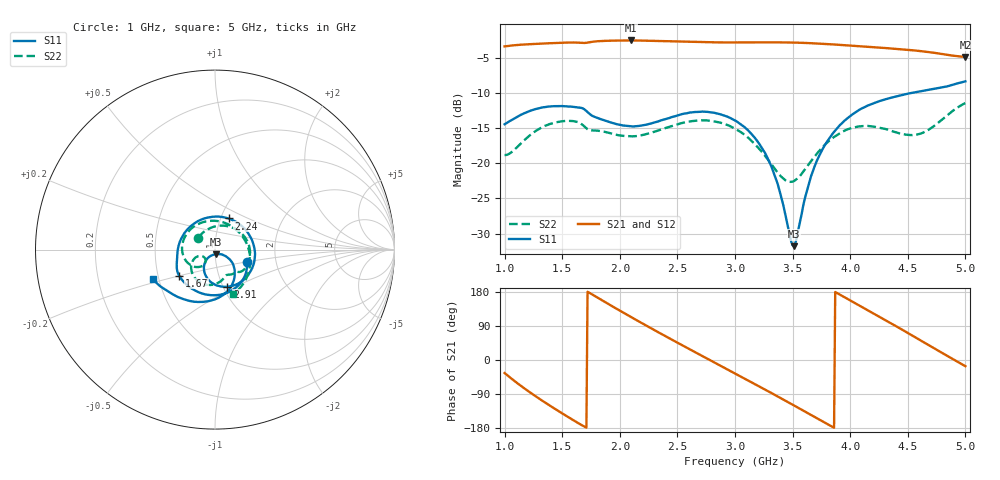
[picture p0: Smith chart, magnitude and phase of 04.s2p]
!Agilent Technologies,N5224A,MY51441093,A.09.90.21
!Agilent N5224A: A.09.90.21
!Date: Wednesday, October 01, 2025 16:37:01
!Correction: S11(Full 2 Port(1,2))
!S21(Full 2 Port(1,2))
!S12(Full 2 Port(1,2))
!S22(Full 2 Port(1,2))
!S2P File: Measurements: S11, S21, S12, S22:
# Hz S  dB  R 50
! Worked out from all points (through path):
!   401 points, 1 GHz to 5 GHz, reference 50 ohm
!   highest |S21| = -2.53 dB at 2.1 GHz (marker M1); lowest = -4.9 dB at 5 GHz (marker M2)
!   lowest |S11| = -31.8 dB at 3.51 GHz (marker M3), VSWR 1.05, Z = 50.4 - j2.55 ohm
!   |S11| at or under -10 dB: start of sweep to 4.532 GHz
!   |S22| runs from -22.6 to -11.4 dB; largest |S21 - S12| = 0.0037
!   S11 on the Smith chart (normalised r, x): 1 GHz: 1.41, -0.20; 1.67 GHz: 0.64, -0.20; 2.24 GHz: 1.09, +0.39; 2.91 GHz: 1.05, -0.46; 5 GHz: 0.46, -0.18
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1e9  -14.45 -21.5  -3.38 -34.4  -3.35 -34.4  -18.83 144.0
1.15e9  -13.04 -42.4  -3.12 -70.2  -3.12 -70.2  -17.05 72.0
1.3e9  -12.16 -68.2  -2.99 -102.0  -2.99 -102.0  -15.11 28.1
1.5e9  -11.87 -106.4  -2.85 -140.9  -2.85 -140.9  -14.03 -12.0
1.67e9  -12.14 -144.1  -2.87 -172.0  -2.86 -172.0  -14.45 -40.3
1.87e9  -13.91 169.1  -2.59 153.2  -2.57 153.2  -15.54 -54.8
2.1e9  -14.74 105.9  -2.53 112.9  -2.52 113.0  -16.17 -66.1
2.24e9  -14.46 66.4  -2.56 89.1  -2.55 89.1  -15.82 -70.6
2.34e9  -14.00 40.3  -2.60 72.2  -2.59 72.3  -15.31 -75.6
2.64e9  -12.73 -24.7  -2.74 22.9  -2.72 22.9  -13.98 -99.7
2.91e9  -13.22 -71.7  -2.81 -20.7  -2.79 -20.7  -14.41 -128.5
3e9  -13.91 -85.8  -2.81 -35.3  -2.79 -35.3  -15.08 -137.9
3.29e9  -19.53 -124.7  -2.79 -82.8  -2.78 -82.8  -19.55 -158.5
3.51e9  -31.79 -79.1  -2.83 -119.6  -2.82 -119.6  -22.55 -136.8
3.67e9  -21.39 -32.5  -2.92 -146.7  -2.91 -146.7  -19.49 -126.2
3.82e9  -16.43 -44.4  -3.06 -172.1  -3.04 -172.2  -16.77 -138.0
3.98e9  -13.55 -61.8  -3.24 160.8  -3.21 160.7  -15.16 -160.3
4.17e9  -11.68 -81.6  -3.45 128.6  -3.43 128.4  -14.72 165.4
4.34e9  -10.74 -97.7  -3.65 99.4  -3.62 99.2  -15.29 126.6
4.51e9  -10.06 -112.5  -3.87 69.7  -3.85 69.4  -15.97 76.8
4.7e9  -9.49 -128.1  -4.22 36.0  -4.20 35.8  -15.02 13.6
5e9  -8.35 -154.6  -4.88 -16.4  -4.86 -16.6  -11.42 -68.2
